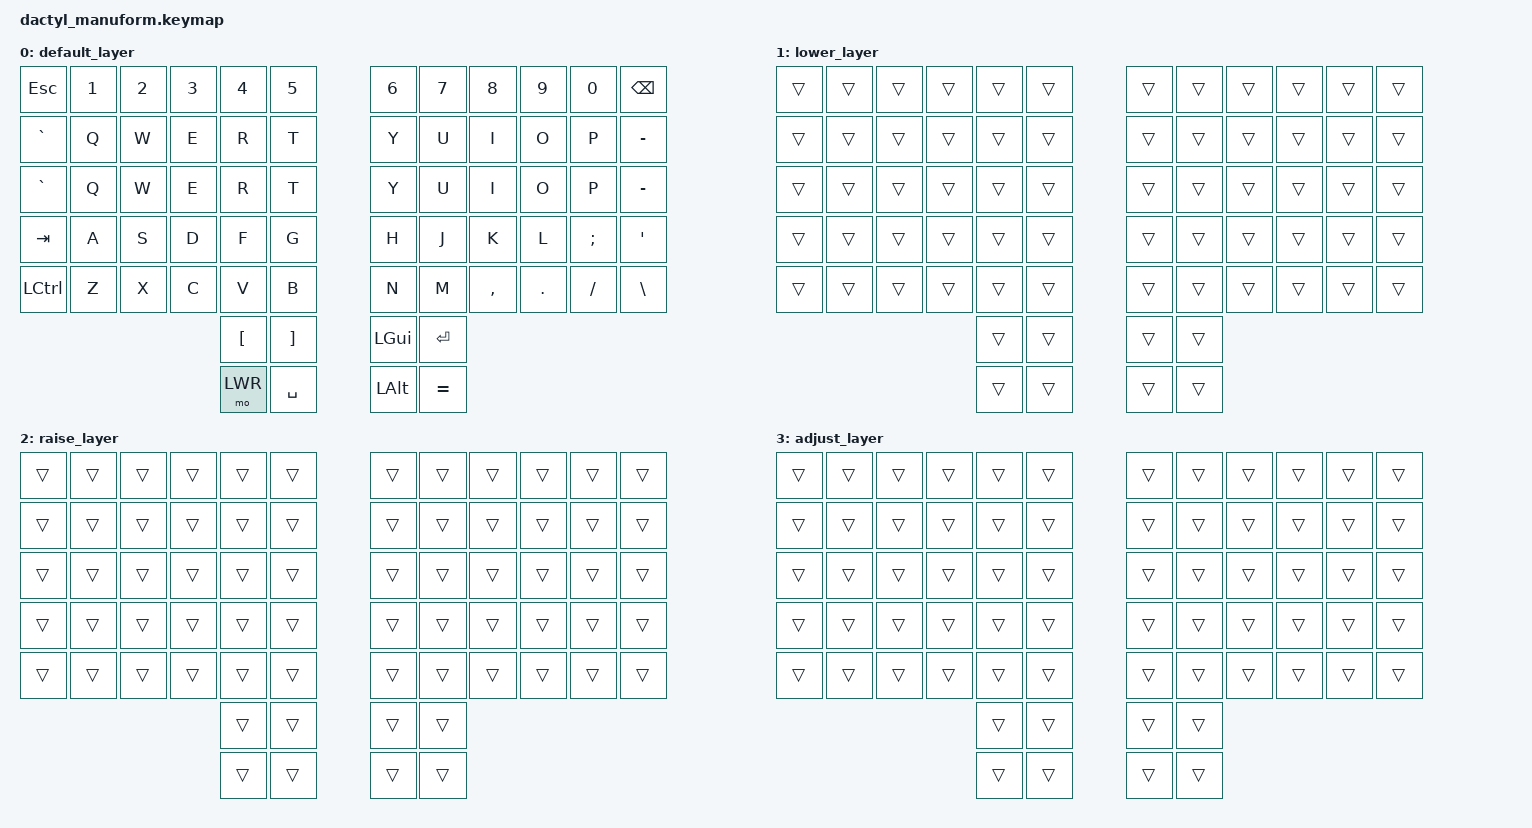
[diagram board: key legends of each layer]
#include <behaviors.dtsi>
#include <dt-bindings/zmk/keys.h>
#include <dt-bindings/zmk/bt.h>
#include <dt-bindings/zmk/outputs.h>
#include <dt-bindings/zmk/mouse.h>

#define DEFAULT 0
#define LWR 1
#define RSE 2
#define ADJ 3

/ {
    keymap {
        compatible = "zmk,keymap";

        default_layer {
            bindings = <
                &kp ESC   &kp N1 &kp N2   &kp N3   &kp N4   &kp N5              &kp N6    &kp N7    &kp N8    &kp N9  &kp N0   &kp BSPC
				&kp GRAVE &kp Q  &kp W    &kp E    &kp R    &kp T               &kp Y     &kp U     &kp I     &kp O   &kp P    &kp MINUS
                &kp GRAVE &kp Q  &kp W    &kp E    &kp R    &kp T               &kp Y     &kp U     &kp I     &kp O   &kp P    &kp MINUS
                &kp TAB   &kp A  &kp S    &kp D    &kp F    &kp G               &kp H     &kp J     &kp K     &kp L   &kp SEMI &kp SQT
                &kp LCTRL &kp Z  &kp X    &kp C    &kp V    &kp B               &kp N     &kp M     &kp COMMA &kp DOT &kp FSLH &kp BSLH
                                                   &kp LBKT &kp RBKT            &kp LGUI  &kp RET
                                                   &mo LWR  &kp SPACE           &kp LALT  &kp EQUAL

            >;
        };

        lower_layer {
            bindings = <
                &trans  &trans &trans &trans &trans &trans                &trans &trans &trans &trans &trans &trans
                &trans  &trans &trans &trans &trans &trans                &trans &trans &trans &trans &trans &trans
                &trans  &trans &trans &trans &trans &trans                &trans &trans &trans &trans &trans &trans
                &trans  &trans &trans &trans &trans &trans                &trans &trans &trans &trans &trans &trans
                &trans  &trans &trans &trans &trans &trans                &trans &trans &trans &trans &trans &trans
                                             &trans &trans                &trans &trans
                                             &trans &trans                &trans &trans
            >;
        };

        raise_layer {
            bindings = <
                &trans  &trans &trans &trans &trans &trans                &trans &trans &trans &trans &trans &trans
				&trans  &trans &trans &trans &trans &trans                &trans &trans &trans &trans &trans &trans
                &trans  &trans &trans &trans &trans &trans                &trans &trans &trans &trans &trans &trans
                &trans  &trans &trans &trans &trans &trans                &trans &trans &trans &trans &trans &trans
                &trans  &trans &trans &trans &trans &trans                &trans &trans &trans &trans &trans &trans
                                             &trans &trans                &trans &trans
                                             &trans &trans                &trans &trans
            >;
        };

        adjust_layer {
            bindings = <
                &trans  &trans &trans &trans &trans &trans                &trans &trans &trans &trans &trans &trans
                &trans  &trans &trans &trans &trans &trans                &trans &trans &trans &trans &trans &trans
                &trans  &trans &trans &trans &trans &trans                &trans &trans &trans &trans &trans &trans
                &trans  &trans &trans &trans &trans &trans                &trans &trans &trans &trans &trans &trans
                &trans  &trans &trans &trans &trans &trans                &trans &trans &trans &trans &trans &trans
                                             &trans &trans                &trans &trans
                                             &trans &trans                &trans &trans
            >;
        };
    };
};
